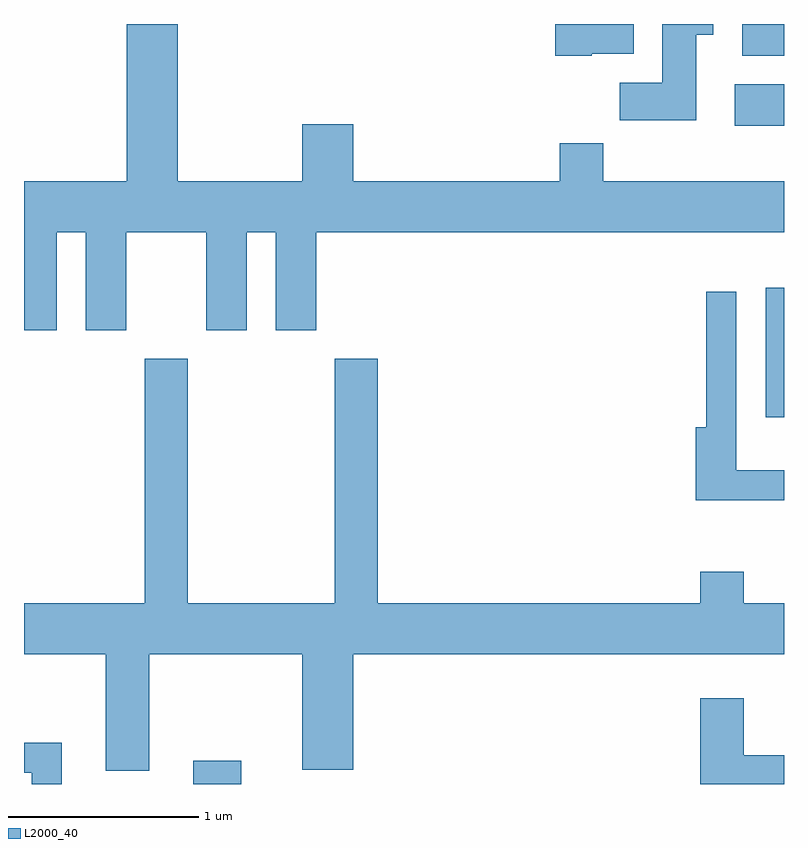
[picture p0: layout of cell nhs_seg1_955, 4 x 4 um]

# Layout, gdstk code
import gdstk
lib = gdstk.Library(unit=1e-6, precision=1e-09)
def R(c, l, rs):  # rectangles x0, y0, x1, y1
    for r in rs: c.add(gdstk.rectangle(r[:2], r[2:], *l))
def P(c, l, *ps):  # polygons
    for p in ps: c.add(gdstk.Polygon(p, *l))
L2000_40 = (2000, 40)

nhs_seg1_955 = lib.new_cell('nhs_seg1_955')
R(nhs_seg1_955, L2000_40, [(214.501,967.712,214.754,967.834), (217.516,969.641,217.611,970.324), (217.351,971.176,217.611,971.394), (217.391,971.546,217.611,971.712)])
P(nhs_seg1_955, L2000_40, [(213.784,970.616),(213.936,970.616),(213.936,970.101),(214.149,970.101),(214.149,970.616),(214.571,970.616),(214.571,970.101),(214.784,970.101),(214.784,970.616),(214.936,970.616),(214.936,970.101),(215.149,970.101),(215.149,970.616),(217.611,970.616),(217.611,970.884),(216.659,970.884),(216.659,971.084),(216.431,971.084),(216.431,970.884),(215.344,970.884),(215.344,971.184),(215.076,971.184),(215.076,970.884),(214.419,970.884),(214.419,971.712),(214.151,971.712),(214.151,970.884),(213.611,970.884),(213.611,970.101),(213.784,970.101)],
  [(216.6,971.556),(216.819,971.556),(216.819,971.712),(216.406,971.712),(216.406,971.546),(216.6,971.546)],
  [(217.149,971.656),(217.239,971.656),(217.239,971.712),(216.971,971.712),(216.971,971.404),(216.746,971.404),(216.746,971.206),(217.149,971.206)],
  [(217.611,969.364),(217.359,969.364),(217.359,970.303),(217.201,970.303),(217.201,969.589),(217.146,969.589),(217.146,969.206),(217.611,969.206)],
  [(214.269,968.396),(215.076,968.396),(215.076,967.786),(215.344,967.786),(215.344,968.396),(217.611,968.396),(217.611,968.664),(217.399,968.664),(217.399,968.829),(217.171,968.829),(217.171,968.664),(215.474,968.664),(215.474,969.949),(215.246,969.949),(215.246,968.664),(214.474,968.664),(214.474,969.949),(214.246,969.949),(214.246,968.664),(213.611,968.664),(213.611,968.396),(214.041,968.396),(214.041,967.781),(214.269,967.781)],
  [(217.611,967.864),(217.399,967.864),(217.399,968.164),(217.171,968.164),(217.171,967.712),(217.611,967.712)],
  [(213.809,967.929),(213.611,967.929),(213.611,967.771),(213.651,967.771),(213.651,967.712),(213.809,967.712)])

lib.write_gds('nhs_seg1_955.gds')
